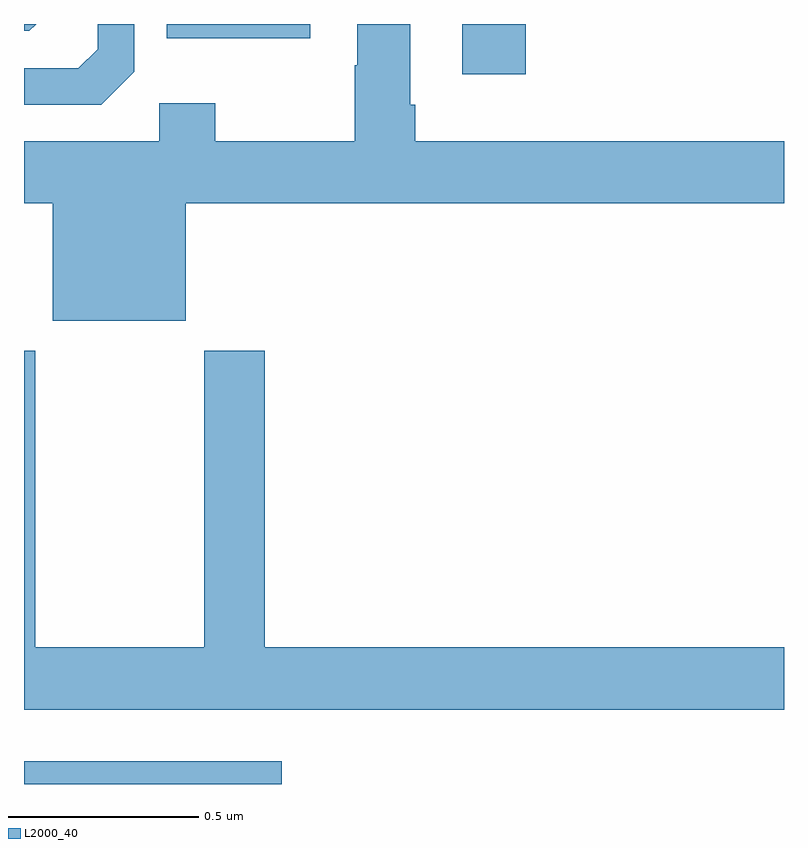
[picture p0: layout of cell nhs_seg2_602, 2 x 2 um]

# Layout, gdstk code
import gdstk
lib = gdstk.Library(unit=1e-6, precision=1e-09)
def R(c, l, rs):  # rectangles x0, y0, x1, y1
    for r in rs: c.add(gdstk.rectangle(r[:2], r[2:], *l))
def P(c, l, *ps):  # polygons
    for p in ps: c.add(gdstk.Polygon(p, *l))
L2000_40 = (2000, 40)

nhs_seg2_602 = lib.new_cell('nhs_seg2_602')
R(nhs_seg2_602, L2000_40, [(118,620.8,118.678,620.86), (119.153,622.668,119.321,622.8), (118.375,622.763,118.753,622.8)])
P(nhs_seg2_602, L2000_40, [(118.426,622.328),(120,622.328),(120,622.492),(119.03,622.492),(119.03,622.588),(119.017,622.588),(119.017,622.8),(118.877,622.8),(118.877,622.691),(118.87,622.691),(118.87,622.492),(118.503,622.492),(118.503,622.591),(118.356,622.591),(118.356,622.492),(118,622.492),(118,622.328),(118.076,622.328),(118.076,622.019),(118.426,622.019)],
  [(118.29,622.674),(118.29,622.8),(118.194,622.8),(118.194,622.734),(118.143,622.683),(118,622.683),(118,622.587),(118.203,622.587)],
  [(118.032,622.8),(118,622.8),(118,622.782),(118.014,622.782)],
  [(120,621.16),(118.634,621.16),(118.634,621.94),(118.474,621.94),(118.474,621.16),(118.029,621.16),(118.029,621.94),(118,621.94),(118,620.996),(120,620.996)])

lib.write_gds('nhs_seg2_602.gds')
